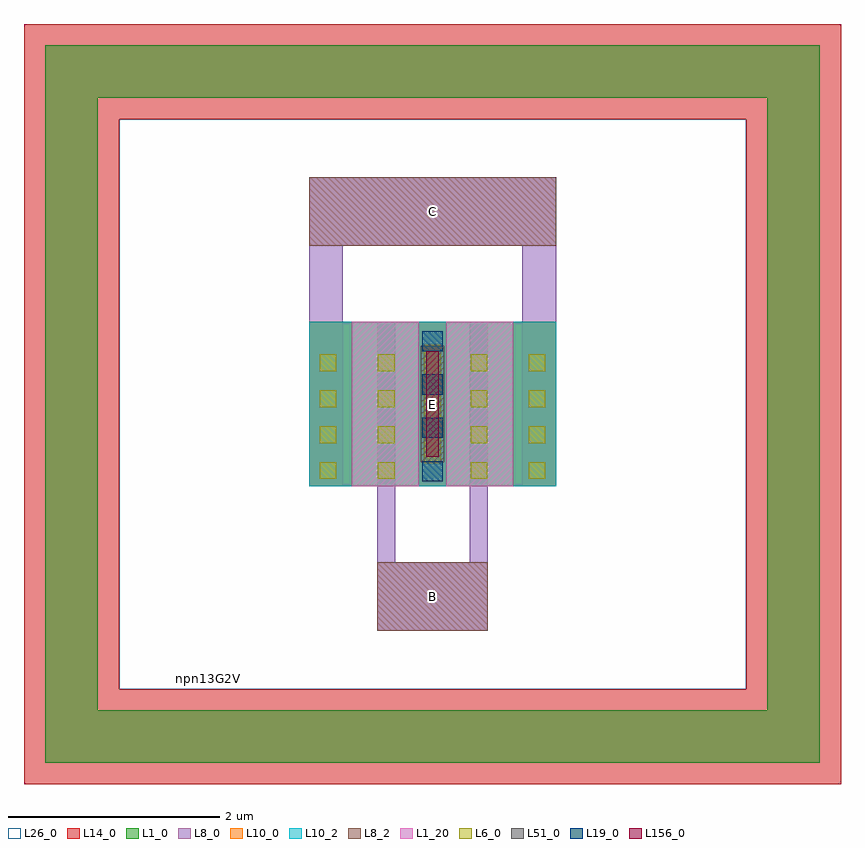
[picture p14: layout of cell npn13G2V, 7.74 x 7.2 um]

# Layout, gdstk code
import gdstk
lib = gdstk.Library(unit=1e-6, precision=1e-09)
def R(c, l, rs):  # rectangles x0, y0, x1, y1
    for r in rs: c.add(gdstk.rectangle(r[:2], r[2:], *l))
def P(c, l, *ps):  # polygons
    for p in ps: c.add(gdstk.Polygon(p, *l))
L1_0 = (1, 0)
L1_20 = (1, 20)
L6_0 = (6, 0)
L8_0 = (8, 0)
L8_2 = (8, 2)
L10_0 = (10, 0)
L10_2 = (10, 2)
L14_0 = (14, 0)
L19_0 = (19, 0)
L26_0 = (26, 0)
L51_0 = (51, 0)
L156_0 = (156, 0)

npn13g2v = lib.new_cell('npn13G2V')
R(npn13g2v, L1_0, [(2.7,2.82,3.105,4.38), (2.7,2.82,3.105,4.38), (3.74,2.82,4,4.38), (3.74,2.82,4,4.38), (4.635,2.82,5.04,4.38), (4.635,2.82,5.04,4.38)])
P(npn13g2v, L1_0, [(0.2,0.2),(0.2,7),(7.04,7),(7.04,6.5),(0.7,6.5),(0.7,0.7),(7.04,0.7),(7.04,7),(7.54,7),(7.54,0.2)],
  [(0.2,0.2),(0.2,7),(7.04,7),(7.04,6.5),(0.7,6.5),(0.7,0.7),(7.04,0.7),(7.04,7),(7.54,7),(7.54,0.2)])
R(npn13g2v, L1_20, [(3.105,2.82,3.74,4.38), (3.105,2.82,3.74,4.38), (4,2.82,4.635,4.38), (4,2.82,4.635,4.38)])
R(npn13g2v, L6_0, [(2.8,2.89,2.96,3.05), (2.8,2.89,2.96,3.05), (3.35,2.89,3.51,3.05), (3.35,2.89,3.51,3.05), (4.23,2.89,4.39,3.05), (4.23,2.89,4.39,3.05), (4.78,2.89,4.94,3.05), (4.78,2.89,4.94,3.05), (3.79,3.04,3.95,4.16), (3.79,3.04,3.95,4.16), (2.8,3.23,2.96,3.39), (2.8,3.23,2.96,3.39), (3.35,3.23,3.51,3.39), (3.35,3.23,3.51,3.39), (4.23,3.23,4.39,3.39), (4.23,3.23,4.39,3.39), (4.78,3.23,4.94,3.39), (4.78,3.23,4.94,3.39), (2.8,3.57,2.96,3.73), (2.8,3.57,2.96,3.73), (3.35,3.57,3.51,3.73), (3.35,3.57,3.51,3.73), (4.23,3.57,4.39,3.73), (4.23,3.57,4.39,3.73), (4.78,3.57,4.94,3.73), (4.78,3.57,4.94,3.73), (2.8,3.91,2.96,4.07), (2.8,3.91,2.96,4.07), (3.35,3.91,3.51,4.07), (3.35,3.91,3.51,4.07), (4.23,3.91,4.39,4.07), (4.23,3.91,4.39,4.07), (4.78,3.91,4.94,4.07), (4.78,3.91,4.94,4.07)])
R(npn13g2v, L8_0, [(3.345,1.45,4.395,2.1), (3.345,1.45,4.395,2.1), (3.345,2.1,3.515,4.38), (3.345,2.1,3.515,4.38), (4.225,2.1,4.395,4.38), (4.225,2.1,4.395,4.38), (2.7,2.82,3.02,5.1), (2.7,2.82,3.02,5.1), (3.74,2.82,4,4.38), (3.74,2.82,4,4.38), (4.72,2.82,5.04,5.1), (4.72,2.82,5.04,5.1), (2.7,5.1,5.04,5.75), (2.7,5.1,5.04,5.75)])
R(npn13g2v, L8_2, [(3.345,1.45,4.395,2.1), (3.345,1.45,4.395,2.1), (2.7,5.1,5.04,5.75), (2.7,5.1,5.04,5.75)])
R(npn13g2v, L10_0, [(2.7,2.82,5.04,4.38), (2.7,2.82,5.04,4.38)])
R(npn13g2v, L10_2, [(2.7,2.82,5.04,4.38), (2.7,2.82,5.04,4.38)])
P(npn13g2v, L14_0, [(0,0),(0,7.2),(6.84,7.2),(6.84,6.3),(0.9,6.3),(0.9,0.9),(6.84,0.9),(6.84,7.2),(7.74,7.2),(7.74,0)],
  [(0,0),(0,7.2),(6.84,7.2),(6.84,6.3),(0.9,6.3),(0.9,0.9),(6.84,0.9),(6.84,7.2),(7.74,7.2),(7.74,0)])
R(npn13g2v, L19_0, [(3.775,2.87,3.965,3.06), (3.775,2.87,3.965,3.06), (3.775,3.28,3.965,3.47), (3.775,3.28,3.965,3.47), (3.775,3.69,3.965,3.88), (3.775,3.69,3.965,3.88), (3.775,4.1,3.965,4.29), (3.775,4.1,3.965,4.29)])
R(npn13g2v, L26_0, [(0.9,0.9,6.84,6.3), (0.9,0.9,6.84,6.3)])
R(npn13g2v, L51_0, [(3.76,3.05,3.98,4.15), (3.76,3.05,3.98,4.15)])
R(npn13g2v, L156_0, [(3.81,3.1,3.93,4.1), (3.81,3.1,3.93,4.1)])
npn13g2v.add(gdstk.Label('E', (3.87,3.6), layer=63, texttype=0))
npn13g2v.add(gdstk.Label('B', (3.87,1.775), layer=63, texttype=0))
npn13g2v.add(gdstk.Label('C', (3.87,5.425), layer=63, texttype=0))
npn13g2v.add(gdstk.Label('npn13G2V', (1.75,1), layer=63, texttype=0))
npn13g2v.add(gdstk.Label('Ae=1*1.00*0.12', (1.5,1), layer=63, texttype=0))
npn13g2v.add(gdstk.Label('E', (3.87,3.6), layer=63, texttype=0))
npn13g2v.add(gdstk.Label('B', (3.87,1.775), layer=63, texttype=0))
npn13g2v.add(gdstk.Label('C', (3.87,5.425), layer=63, texttype=0))
npn13g2v.add(gdstk.Label('npn13G2V', (1.75,1), layer=63, texttype=0))
npn13g2v.add(gdstk.Label('Ae=1*1.00*0.12', (1.5,1), layer=63, texttype=0))
npn13g2v.add(gdstk.Label('npn13G2V', (3.87,3.6), layer=51, texttype=0))
npn13g2v.add(gdstk.Label('npn13G2V', (3.87,3.6), layer=51, texttype=0))

lib.write_gds('npn13G2V.gds')
